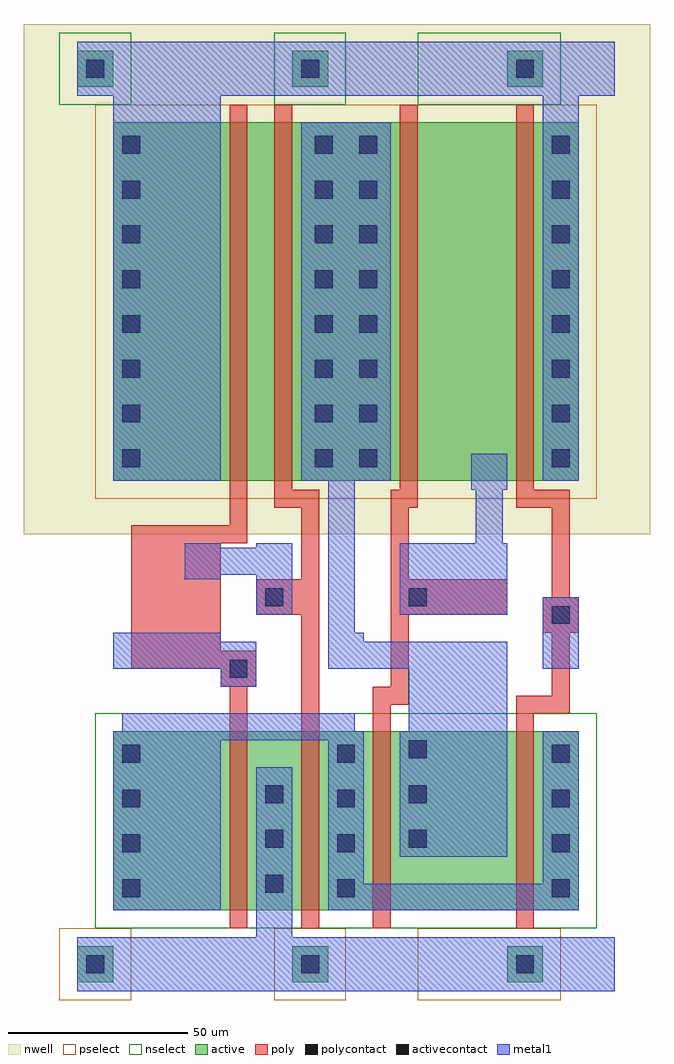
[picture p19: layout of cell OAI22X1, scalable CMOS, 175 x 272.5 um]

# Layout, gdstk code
import gdstk
lib = gdstk.Library(unit=1e-6, precision=1e-09)
def R(c, l, rs):  # rectangles x0, y0, x1, y1
    for r in rs: c.add(gdstk.rectangle(r[:2], r[2:], *l))
def A(c, l, x, y, w, h, nx, ny, dx, dy):  # array of equal rectangles
    R(c, l, [(x+i*dx, y+j*dy, x+i*dx+w, y+j*dy+h) for i in range(nx) for j in range(ny)])
def P(c, l, *ps):  # polygons
    for p in ps: c.add(gdstk.Polygon(p, *l))
nwell = (42, 0)
active = (43, 0)
pselect = (44, 0)
nselect = (45, 0)
poly = (46, 0)
polycontact = (47, 0)
activecontact = (48, 0)
metal1 = (49, 0)

oai22x1 = lib.new_cell('OAI22X1')
R(oai22x1, nwell, [(-20,120,155,262.5)])
A(oai22x1, active, -5, -5, 10, 10, 3, 2, 60, 250)
R(oai22x1, active, [(5,15,135,65), (5,135,135,235)])
R(oai22x1, pselect, [(-10,-10,10,10), (50,-10,70,10), (90,-10,130,10), (0,130,140,240)])
R(oai22x1, nselect, [(0,10,140,70), (-10,240,10,260), (50,240,70,260), (90,240,130,260)])
R(oai22x1, poly, [(37.5,10,42.5,77.5), (57.5,10,62.5,97.5), (77.5,10,82.5,72.5), (117.5,10,122.5,70), (117.5,70,132.5,75), (77.5,72.5,87.5,77.5), (127.5,75,132.5,92.5), (35,77.5,45,82.5), (82.5,77.5,87.5,97.5), (10,82.5,45,87.5), (10,87.5,35,117.5), (125,92.5,135,102.5), (45,97.5,62.5,107.5), (82.5,97.5,115,107.5), (127.5,102.5,132.5,127.5), (57.5,107.5,62.5,127.5), (82.5,107.5,87.5,127.5), (10,117.5,42.5,122.5), (37.5,122.5,42.5,240), (50,127.5,62.5,132.5), (82.5,127.5,90,132.5), (117.5,127.5,132.5,132.5), (50,132.5,55,240), (85,132.5,90,240), (117.5,132.5,122.5,240)])
R(oai22x1, polycontact, [(37.5,80,42.5,85), (127.5,95,132.5,100), (47.5,100,52.5,105), (87.5,100,92.5,105)])
A(oai22x1, activecontact, -2.5, -2.5, 5, 5, 3, 2, 60, 250)
A(oai22x1, activecontact, 7.5, 18.75, 5, 5, 3, 4, 60, 12.5)
A(oai22x1, activecontact, 47.5, 20, 5, 5, 1, 3, 0, 12.5)
A(oai22x1, activecontact, 87.5, 32.5, 5, 5, 1, 3, 0, 12.5)
A(oai22x1, activecontact, 7.5, 138.75, 5, 5, 1, 8, 0, 12.5)
A(oai22x1, activecontact, 61.25, 138.75, 5, 5, 1, 8, 0, 12.5)
A(oai22x1, activecontact, 73.75, 138.75, 5, 5, 1, 8, 0, 12.5)
A(oai22x1, activecontact, 127.5, 138.75, 5, 5, 1, 8, 0, 12.5)
R(oai22x1, metal1, [(-5,-7.5,145,7.5), (45,7.5,55,55), (5,15,35,62.5), (65,15,135,22.5), (65,22.5,75,62.5), (125,22.5,135,65), (85,30,115,65), (5,62.5,75,65), (7.5,65,72.5,70), (87.5,65,115,82.5), (35,77.5,45,82.5), (5,82.5,45,90), (65,82.5,115,90), (125,82.5,135,102.5), (5,90,35,92.5), (65,90,75,92.5), (65,92.5,72.5,135), (45,97.5,55,117.5), (85,97.5,115,117.5), (25,107.5,35,117.5), (26.25,108.75,53.75,116.25), (105,132.5,115,142.5), (5,135,35,242.5), (57.5,135,82.5,235), (125,135,135,242.5), (-5,242.5,145,257.5)])
P(oai22x1, metal1, [(96.25,108.75),(96.25,116.25),(106.25,116.25),(106.25,141.25),(113.75,141.25),(113.75,108.75)])

lib.write_gds('OAI22X1.gds')
